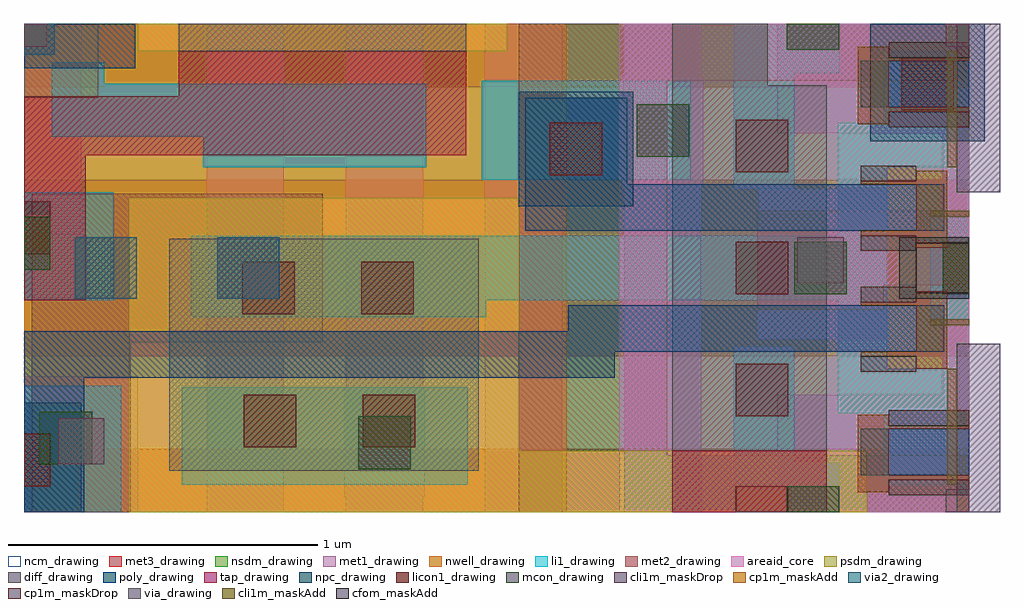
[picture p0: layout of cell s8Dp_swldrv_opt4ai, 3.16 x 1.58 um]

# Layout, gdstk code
from math import pi, radians
import gdstk
lib = gdstk.Library(unit=1e-6, precision=1e-09)
def R(c, l, rs):  # rectangles x0, y0, x1, y1
    for r in rs: c.add(gdstk.rectangle(r[:2], r[2:], *l))
def A(c, l, x, y, w, h, nx, ny, dx, dy):  # array of equal rectangles
    R(c, l, [(x+i*dx, y+j*dy, x+i*dx+w, y+j*dy+h) for i in range(nx) for j in range(ny)])
def P(c, l, *ps):  # polygons
    for p in ps: c.add(gdstk.Polygon(p, *l))
cfom_maskAdd = (22, 21)
cp1m_maskDrop = (33, 42)
cp1m_maskAdd = (33, 43)
nwell_drawing = (64, 20)
diff_drawing = (65, 20)
tap_drawing = (65, 44)
poly_drawing = (66, 20)
licon1_drawing = (66, 44)
li1_drawing = (67, 20)
mcon_drawing = (67, 44)
met1_drawing = (68, 20)
via_drawing = (68, 44)
met2_drawing = (69, 20)
via2_drawing = (69, 44)
met3_drawing = (70, 20)
areaid_core = (81, 2)
ncm_drawing = (92, 44)
nsdm_drawing = (93, 44)
psdm_drawing = (94, 20)
npc_drawing = (95, 20)
cli1m_maskDrop = (115, 42)
cli1m_maskAdd = (115, 43)

s8dp_swldrv_opt1_poly_si = lib.new_cell('s8Dp_swldrv_opt1_poly_siz_optA')
R(s8dp_swldrv_opt1_poly_si, cp1m_maskDrop, [(0,0.01,0.26,0.06)])
R(s8dp_swldrv_opt1_poly_si, cp1m_maskAdd, [(0,0,0.26,0.01)])

c_s8dp_swldrv_opt1_poly_si = lib.new_cell('s8Dp_swldrv_opt1_poly_siz_optC')
R(c_s8dp_swldrv_opt1_poly_si, cp1m_maskDrop, [(-0.18,0.01,0,0.06)])
R(c_s8dp_swldrv_opt1_poly_si, cp1m_maskAdd, [(-0.18,0,0,0.01)])

c_s8dp_swldrv_opt1_poly_si_ = lib.new_cell('s8Dp_swldrv_opt1_poly_siz_optB')
R(c_s8dp_swldrv_opt1_poly_si_, cp1m_maskDrop, [(0,-0.065,0.26,-0.015)])
R(c_s8dp_swldrv_opt1_poly_si_, cp1m_maskAdd, [(0,-0.015,0.26,0)])

c_s8dp_swldrv_opt1_poly_si__ = lib.new_cell('s8Dp_swldrv_opt1_poly_siz_optD')
R(c_s8dp_swldrv_opt1_poly_si__, cp1m_maskDrop, [(-0.18,-0.065,0,-0.015)])
R(c_s8dp_swldrv_opt1_poly_si__, cp1m_maskAdd, [(-0.18,-0.015,0,0)])

s8dp_swldrv_p1m_siz = lib.new_cell('s8Dp_swldrv_p1m_siz')
s8dp_swldrv_p1m_siz.add(gdstk.Reference(s8dp_swldrv_opt1_poly_si, (-0.26,0.27)))
s8dp_swldrv_p1m_siz.add(gdstk.Reference(s8dp_swldrv_opt1_poly_si, (-0.26,1.46)))
s8dp_swldrv_p1m_siz.add(gdstk.Reference(c_s8dp_swldrv_opt1_poly_si, (-0.17,1.06)))
s8dp_swldrv_p1m_siz.add(gdstk.Reference(c_s8dp_swldrv_opt1_poly_si, (-0.17,0.67)))
s8dp_swldrv_p1m_siz.add(gdstk.Reference(c_s8dp_swldrv_opt1_poly_si_, (-0.26,0.12)))
s8dp_swldrv_p1m_siz.add(gdstk.Reference(c_s8dp_swldrv_opt1_poly_si_, (-0.26,1.31)))
s8dp_swldrv_p1m_siz.add(gdstk.Reference(c_s8dp_swldrv_opt1_poly_si__, (-0.17,0.91)))
s8dp_swldrv_p1m_siz.add(gdstk.Reference(c_s8dp_swldrv_opt1_poly_si__, (-0.17,0.52)))

s8dp_licon_05 = lib.new_cell('s8Dp_licon_05')
R(s8dp_licon_05, licon1_drawing, [(-0.085,0,0.085,0.085)])

s8dp_mcon_05 = lib.new_cell('s8Dp_mcon_05')
R(s8dp_mcon_05, mcon_drawing, [(-0.085,0,0.085,0.085)])

s8dp_swldrv_tap_b = lib.new_cell('s8Dp_swldrv_tap_b')
R(s8dp_swldrv_tap_b, diff_drawing, [(2.095,-0.2,2.405,0), (0.5,-0.09,1.43,0)])
R(s8dp_swldrv_tap_b, tap_drawing, [(0,-0.895,0.2,-0.425)])
P(s8dp_swldrv_tap_b, tap_drawing, [(0,-0.425),(0,-0.235),(0.5,-0.235),(0.5,-0.09),(1.43,-0.09),(1.43,-0.425)])
R(s8dp_swldrv_tap_b, li1_drawing, [(0,-0.895,0.29,-0.545)])
P(s8dp_swldrv_tap_b, li1_drawing, [(0.58,-0.465),(0.58,-0.365),(0.09,-0.365),(0.09,-0.125),(0.26,-0.125),(0.26,-0.195),(1.3,-0.195),(1.3,-0.465)])
R(s8dp_swldrv_tap_b, nsdm_drawing, [(1.965,-0.2,2.725,0), (1.56,-0.09,1.6,0)])
P(s8dp_swldrv_tap_b, nsdm_drawing, [(0,-0.565),(0,0),(0.37,0),(0.37,-0.09),(1.6,-0.09),(1.6,-0.565)])
R(s8dp_swldrv_tap_b, psdm_drawing, [(0.37,-0.09,1.56,0)])
R(s8dp_swldrv_tap_b, npc_drawing, [(0,-0.145,0.36,0)])
s8dp_swldrv_tap_b.add(gdstk.Reference(s8dp_licon_05, (0,-0.66), rotation=3*pi/2))
s8dp_swldrv_tap_b.add(gdstk.Reference(s8dp_mcon_05, (0,-0.71), rotation=3*pi/2))

s8dp_swldrv_coreid = lib.new_cell('s8Dp_swldrv_coreid')
R(s8dp_swldrv_coreid, areaid_core, [(0,0,1.13,1.58)])

s8dp_cell_poly_srf_opta = lib.new_cell('s8Dp_cell_poly_srf_optA')
R(s8dp_cell_poly_srf_opta, cp1m_maskAdd, [(-0.1,-0.2,0,0.05)])

s8dp_swldrv_p1m_ser = lib.new_cell('s8Dp_swldrv_p1m_ser')
s8dp_swldrv_p1m_ser.add(gdstk.Reference(s8dp_cell_poly_srf_opta, (-0.26,1.46)))
s8dp_swldrv_p1m_ser.add(gdstk.Reference(s8dp_cell_poly_srf_opta, (-0.26,0.27)))
s8dp_swldrv_p1m_ser.add(gdstk.Reference(s8dp_cell_poly_srf_opta, (-0.17,0.67), rotation=pi, x_reflection=True))
s8dp_swldrv_p1m_ser.add(gdstk.Reference(s8dp_cell_poly_srf_opta, (-0.17,1.06), rotation=pi, x_reflection=True))

s8dp_swldrv_p1lic = lib.new_cell('s8Dp_swldrv_p1lic')
R(s8dp_swldrv_p1lic, licon1_drawing, [(-0.22,0.11,-0.05,0.28)])
R(s8dp_swldrv_p1lic, npc_drawing, [(-0.32,0,0.05,0.38)])

s8dp_swldrv_mcon = lib.new_cell('s8Dp_swldrv_mcon')
R(s8dp_swldrv_mcon, mcon_drawing, [(0,0.07,0.17,0.24), (0.9,1.08,1.07,1.25)])
R(s8dp_swldrv_mcon, met1_drawing, [(-0.045,-0.02,0.215,0.33), (0.855,0.99,1.115,1.34)])

s8dp_licon_1 = lib.new_cell('s8Dp_licon_1')
s8dp_licon_1.add(gdstk.Reference(s8dp_licon_05, (0,0)))
s8dp_licon_1.add(gdstk.Reference(s8dp_licon_05, (0,0), x_reflection=True))

s8dp_swldrv_base = lib.new_cell('s8Dp_swldrv_base')
R(s8dp_swldrv_base, cfom_maskAdd, [(-0.225,0.69,-0.17,0.89), (-0.17,0.69,0,0.71), (-0.17,0.87,0,0.89)])
R(s8dp_swldrv_base, nwell_drawing, [(-3.055,0,-1.3,1.58)])
R(s8dp_swldrv_base, diff_drawing, [(-2.585,0.135,-1.585,0.885), (-0.96,0.2,-0.46,1.38), (-0.17,0.71,0,0.87)])
R(s8dp_swldrv_base, tap_drawing, [(-0.96,0,-0.46,0.2)])
R(s8dp_swldrv_base, poly_drawing, [(-3.055,0,-2.86,0.585), (-0.35,0.12,0,0.27), (-0.35,0.12,0,0.27), (-0.35,1.31,0,1.46), (-0.35,1.31,0,1.46)])
P(s8dp_swldrv_base, poly_drawing, [(-1.435,0.91),(-1.435,1.34),(-1.105,1.34),(-1.105,1.06),(-0.08,1.06),(-0.08,0.91)],
  [(-2.86,0.435),(-2.86,0.585),(-1.295,0.585),(-1.295,0.67),(-0.08,0.67),(-0.08,0.52),(-1.145,0.52),(-1.145,0.435)])
A(s8dp_swldrv_base, licon1_drawing, -0.755, 0.31, 0.17, 0.17, 1, 3, 0, 0.395)
R(s8dp_swldrv_base, licon1_drawing, [(-0.755,0,-0.585,0.085), (-0.085,0.705,0,0.875), (-1.355,1.09,-1.185,1.26)])
R(s8dp_swldrv_base, li1_drawing, [(-3.055,0,-2.74,0.41), (-2.545,0.09,-1.62,0.405), (-0.125,0.625,0,0.955), (-1.575,1.075,-0.9,1.395)])
P(s8dp_swldrv_base, li1_drawing, [(-2.515,0.63),(-2.515,0.895),(-0.265,0.895),(-0.265,0.685),(-1.56,0.685),(-1.56,0.63)],
  [(-0.76,1.045),(-0.76,1.58),(-0.42,1.58),(-0.42,1.42),(-0.565,1.42),(-0.565,1.045)],
  [(-0.275,0.09),(-0.275,0.32),(-0.425,0.32),(-0.425,0.895),(-0.265,0.895),(-0.265,0.465),(-0.07,0.465),(-0.07,0.09)],
  [(-0.425,0.685),(-0.425,1.26),(-0.275,1.26),(-0.275,1.49),(-0.07,1.49),(-0.07,1.115),(-0.265,1.115),(-0.265,0.685)],
  [(-0.76,0),(-0.76,0.535),(-0.565,0.535),(-0.565,0.16),(-0.42,0.16),(-0.42,0)])
R(s8dp_swldrv_base, mcon_drawing, [(-0.59,0,-0.42,0.085), (-0.565,0.705,-0.395,0.875), (-0.085,0.705,0,0.875), (-0.59,1.495,-0.42,1.58)])
A(s8dp_swldrv_base, met1_drawing, -2.465, 0, 0.25, 1.58, 4, 1, 0.45, 0)
P(s8dp_swldrv_base, met1_drawing, [(-0.62,0),(-0.62,0.38),(-0.085,0.38),(-0.085,1.225),(-0.62,1.225),(-0.62,1.58),(0,1.58),(0,0)],
  [(-0.685,0.56),(-0.685,0.98),(-0.68,0.98),(-0.68,1.045),(-0.265,1.045),(-0.265,0.56)])
R(s8dp_swldrv_base, ncm_drawing, [(-3.055,0,0,1.58)])
R(s8dp_swldrv_base, nsdm_drawing, [(-3.055,0,-2.715,1.015), (-1.455,0.2,-1.09,0.91), (-1.455,0.91,-1.09,1.58)])
P(s8dp_swldrv_base, nsdm_drawing, [(-0.33,0),(-0.33,0.2),(-1.09,0.2),(-1.09,1.38),(-0.33,1.38),(-0.33,1.58),(0,1.58),(0,0)])
R(s8dp_swldrv_base, psdm_drawing, [(-1.35,0,-0.33,0.2)])
P(s8dp_swldrv_base, psdm_drawing, [(-2.715,0),(-2.715,1.015),(-1.455,1.015),(-1.455,0.2),(-1.09,0.2),(-1.09,0)])
R(s8dp_swldrv_base, npc_drawing, [(-3.055,0,-2.87,0.355), (-1.455,0.99,-1.085,1.36)])
R(s8dp_swldrv_base, cli1m_maskDrop, [(-0.04,0,0.1,0.545), (-0.04,1.035,0.1,1.58)])
R(s8dp_swldrv_base, cli1m_maskAdd, [(-0.07,0.09,-0.04,0.465), (-0.125,0.605,0,0.625), (-0.125,0.955,0,0.975), (-0.07,1.115,-0.04,1.49)])
s8dp_swldrv_base.add(gdstk.Reference(s8dp_licon_1, (-2.26,0.295)))
s8dp_swldrv_base.add(gdstk.Reference(s8dp_licon_1, (-1.875,0.295)))
s8dp_swldrv_base.add(gdstk.Reference(s8dp_licon_1, (-1.88,0.725)))
s8dp_swldrv_base.add(gdstk.Reference(s8dp_licon_1, (-2.265,0.725)))
s8dp_swldrv_base.add(gdstk.Reference(s8dp_licon_05, (-3.055,0.17), rotation=3*pi/2))

s8dp_swldrv_fom_drop = lib.new_cell('s8Dp_swldrv_fom_drop')

s8dp_swldrv_strap2 = lib.new_cell('s8Dp_swldrv_strap2')
R(s8dp_swldrv_strap2, mcon_drawing, [(0.05,0.155,0.22,0.325)])
R(s8dp_swldrv_strap2, met1_drawing, [(0,0,0.37,0.44), (0,0.9,0.185,1.58)])
R(s8dp_swldrv_strap2, via_drawing, [(0.11,0.155,0.26,0.305)])
R(s8dp_swldrv_strap2, met2_drawing, [(0.025,0,0.345,0.435)])

s8dp_swldrv_met2_lwl = lib.new_cell('s8Dp_swldrv_met2_lwl')
R(s8dp_swldrv_met2_lwl, via_drawing, [(-0.555,0.69,-0.405,0.84)])
P(s8dp_swldrv_met2_lwl, met2_drawing, [(-0.685,0.605),(-0.685,0.925),(-0.275,0.925),(-0.275,0.845),(0,0.845),(0,0.605)])

s8dp_swldrv_met23_2a = lib.new_cell('s8Dp_swldrv_met23_2a')
R(s8dp_swldrv_met23_2a, met1_drawing, [(-3.055,1.375,-2.895,1.58)])
R(s8dp_swldrv_met23_2a, via_drawing, [(-0.075,0,0,0.075), (-3.055,1.505,-2.98,1.58), (-0.075,1.505,0,1.58)])
R(s8dp_swldrv_met23_2a, met2_drawing, [(-3.055,1.34,-2.815,1.58)])
P(s8dp_swldrv_met23_2a, met2_drawing, [(-1.455,0),(-1.455,1.58),(0,1.58),(0,1.395),(-0.975,1.395),(-0.975,0.185),(0,0.185),(0,0)],
  [(-3.03,0.435),(-3.03,1.03),(-2.09,1.03),(-2.09,0.55),(-2.71,0.55),(-2.71,0.435)])
R(s8dp_swldrv_met23_2a, via2_drawing, [(-2.89,0.69,-2.69,0.89), (-2.43,0.69,-2.23,0.89), (-3.055,1.48,-2.955,1.58)])
R(s8dp_swldrv_met23_2a, met3_drawing, [(-3.055,0,0,0.205), (-3.055,0.505,0,1.075), (-3.025,0.575,-2.135,1.005), (-3.055,1.375,0,1.58)])

s8dp_swldrv_opt4ai = lib.new_cell('s8Dp_swldrv_opt4ai')
s8dp_swldrv_opt4ai.add(gdstk.Reference(s8dp_swldrv_p1m_siz, (3.055,0)))
s8dp_swldrv_opt4ai.add(gdstk.Reference(s8dp_swldrv_tap_b, (0,1.58)))
s8dp_swldrv_opt4ai.add(gdstk.Reference(s8dp_swldrv_coreid, (1.925,0)))
s8dp_swldrv_opt4ai.add(gdstk.Reference(s8dp_swldrv_p1m_ser, (3.055,-0.005)))
s8dp_swldrv_opt4ai.add(gdstk.Reference(s8dp_swldrv_p1lic, (3.055,1.58), x_reflection=True))
s8dp_swldrv_opt4ai.add(gdstk.Reference(s8dp_swldrv_mcon, (1.08,0.07)))
s8dp_swldrv_opt4ai.add(gdstk.Reference(s8dp_swldrv_base, (3.055,0)))
s8dp_swldrv_opt4ai.add(gdstk.Reference(s8dp_swldrv_fom_drop, (3.055,1.58), rotation=pi))
s8dp_swldrv_opt4ai.add(gdstk.Reference(s8dp_swldrv_strap2, (0,0)))
s8dp_swldrv_opt4ai.add(gdstk.Reference(s8dp_swldrv_met2_lwl, (3.055,1.58), x_reflection=True))
s8dp_swldrv_opt4ai.add(gdstk.Reference(s8dp_swldrv_met23_2a, (3.055,0)))

lib.write_gds('s8Dp_swldrv_opt4ai.gds')
